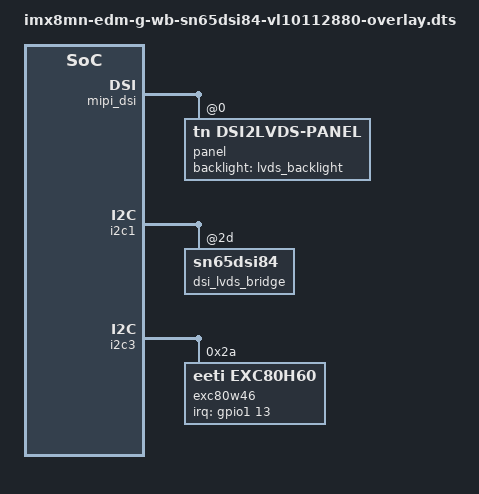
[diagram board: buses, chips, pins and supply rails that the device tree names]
// SPDX-License-Identifier: (GPL-2.0+ OR MIT)
/*
 * Copyright 2020 TechNexion Ltd.
 *
 * Author: Ray Chang <ray.chang@technexion.com>
 *
 */

/dts-v1/;
/plugin/;

#include <dt-bindings/interrupt-controller/irq.h>
#include <dt-bindings/gpio/gpio.h>

/ {
	fragment@0 {
		target-path = "/";
		__overlay__ {
			regulators {
				reg_lvds_pwr: regulator_lvdspwr {
					regulator-always-on;
				};

				reg_lvds_backlight_pwr: regulator_lvdsblpwr {
					regulator-always-on;
				};
			};

			lvds_backlight: lvds_backlight {
				status = "okay";
			};
		};
	};

	fragment@1 {
		target = <&mipi_dsi>;
		__overlay__ {
			status = "okay";
			#address-cells = <1>;
			#size-cells = <0>;
			panel@0 {
				reg = <0>;
				compatible = "tn,dsi2lvds-panel";
				backlight = <&lvds_backlight>;
				dsi,flags = <0x0007>;
				dsi,format = <0>;
				dsi,lanes = <4>;
				panel-width-mm  = <217>;
				panel-height-mm = <135>;
				bus-format = <0x100a>;	/* MEDIA_BUS_FMT_RGB888_1X24 */
				bus-flags = <1>;
				refresh-rate = <60>;
				rotate = <0>;
				/* horz-flip; */
				/* vert-flip; */

				panel-timing {
					clock-frequency = <69500000>;
					hactive = <1280>;
					vactive = <800>;
					hfront-porch = <40>;
					hsync-len = <80>;
					hback-porch = <40>;
					vfront-porch = <3>;
					vsync-len = <10>;
					vback-porch = <10>;
					/* flags = DISPLAY_FLAGS_HSYNC_HIGH | DISPLAY_FLAGS_VSYNC_HIGH */
					vsync-active = <1>;
					hsync-active = <1>;
				};
			};
		};
	};

	fragment@2 {
		target = <&i2c1>;
		__overlay__ {
			dsi_lvds_bridge: sn65dsi84@2d {
				sn65dsi84,addresses = <0x09 0x0A 0x0B 0x0D
									0x10 0x11 0x12 0x13
									0x18 0x19 0x1A 0x1B
									0x20 0x21 0x22 0x23
									0x24 0x25 0x26 0x27
									0x28 0x29 0x2A 0x2B
									0x2C 0x2D 0x2E 0x2F
									0x30 0x31 0x32 0x33
									0x34 0x35 0x36 0x37
									0x38 0x39 0x3A 0x3B
									0x3C 0x3D 0x3E 0x0D>;

				sn65dsi84,values = </* reset and clock registers */
									0x00 0x05 0x10 0x00
									/* DSI registers */
									0x26 0x00 0x2a 0x00
									/* LVDS registers */
									0x78 0x00 0x03 0x00

									/* video registers */
									/* cha-al-len-l, cha-al-len-h, chb-al-len-l, chb-al-len-h */
									0x00 0x05 0x00 0x00
									/* cha-v-ds-l, cha-v-ds-h, chb-v-ds-l, chb-v-ds-h */
									0x00 0x00 0x00 0x00
									/* cha-sdl, cha-sdh, chb-sdl, chb-sdh */
									0x21 0x00 0x00 0x00
									/* cha-hs-pwl, cha-hs-pwh, chb-hs-pwl, chb-hs-pwh */
									0x50 0x00 0x00 0x00
									/* cha-vs-pwl, cha-vs-pwh, chb-vs-pwl, chb-vs-pwh */
									0x0a 0x00 0x00 0x00
									/*cha-hbp, chb-hbp, cha-vbp, chb-vbp*/
									0x28 0x00 0x00 0x00
									/* cha-hfp, chb-hfp, cha-vfp, chb-vfp*/
									0x00 0x00 0x00 0x00

									0x00 0x00 0x00 0x01>;
				status = "okay";
			};
		};
	};

	fragment@3 {
		target = <&i2c3>;
		__overlay__ {
			#address-cells = <1>;
			#size-cells = <0>;
			status = "okay";

			exc80w46: touchscreen@2a {
				compatible = "eeti,exc80h60";
				pinctrl-names = "default";
				pinctrl-0 = <&pinctrl_touch_irq>, <&pinctrl_touch_reset>;
				reg = <0x2a>;
				interrupt-parent = <&gpio1>;
				interrupts = <13 IRQ_TYPE_LEVEL_LOW>;
				status = "okay";
			};
		};
	};
};
